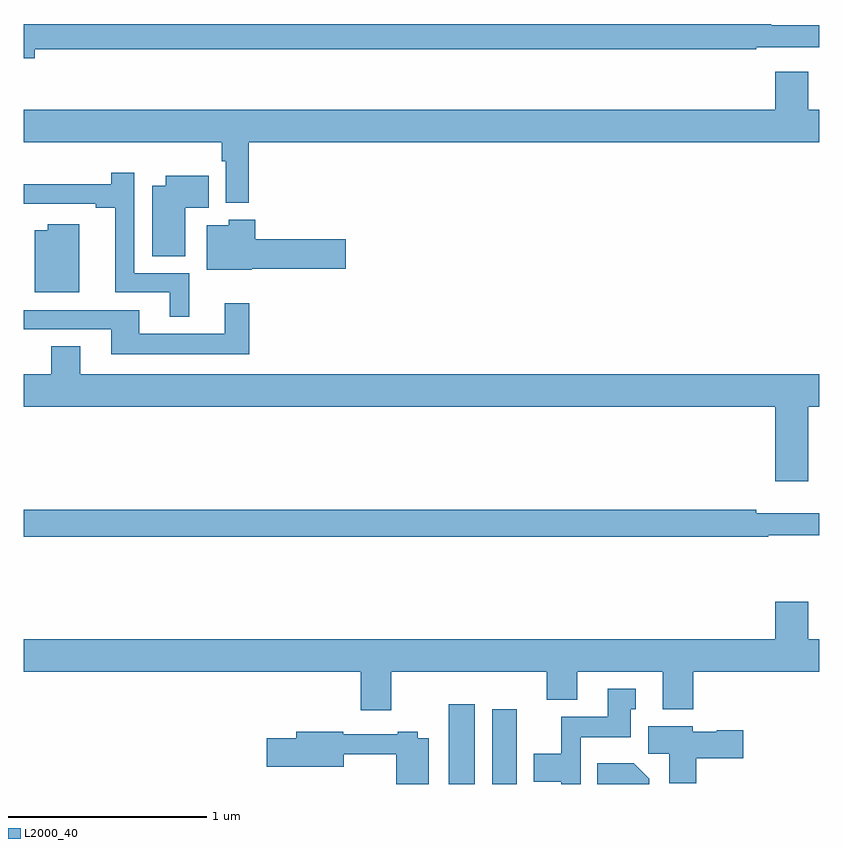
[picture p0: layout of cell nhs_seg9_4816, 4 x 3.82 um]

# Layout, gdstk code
import gdstk
lib = gdstk.Library(unit=1e-6, precision=1e-09)
def R(c, l, rs):  # rectangles x0, y0, x1, y1
    for r in rs: c.add(gdstk.rectangle(r[:2], r[2:], *l))
def P(c, l, *ps):  # polygons
    for p in ps: c.add(gdstk.Polygon(p, *l))
L2000_40 = (2000, 40)

nhs_seg9_4816 = lib.new_cell('nhs_seg9_4816')
R(nhs_seg9_4816, L2000_40, [(391.136,1218.5,391.267,1218.901), (391.355,1218.5,391.48,1218.877)])
P(nhs_seg9_4816, L2000_40, [(389.056,1222.194),(392.684,1222.194),(392.684,1222.206),(393,1222.206),(393,1222.315),(392.758,1222.315),(392.758,1222.322),(389,1222.322),(389,1222.151),(389.056,1222.151)],
  [(390.131,1221.728),(393,1221.728),(393,1221.892),(392.944,1221.892),(392.944,1222.081),(392.78,1222.081),(392.78,1221.892),(389,1221.892),(389,1221.728),(389.995,1221.728),(389.995,1221.632),(390.015,1221.632),(390.015,1221.422),(390.131,1221.422)],
  [(389.833,1221.069),(389.556,1221.069),(389.556,1221.574),(389.44,1221.574),(389.44,1221.515),(389,1221.515),(389,1221.417),(389.363,1221.417),(389.363,1221.397),(389.459,1221.397),(389.459,1220.973),(389.735,1220.973),(389.735,1220.849),(389.833,1220.849)],
  [(389.812,1221.398),(389.93,1221.398),(389.93,1221.559),(389.714,1221.559),(389.714,1221.508),(389.645,1221.508),(389.645,1221.154),(389.812,1221.154)],
  [(390.147,1221.092),(390.619,1221.092),(390.619,1221.239),(390.164,1221.239),(390.164,1221.337),(390.03,1221.337),(390.03,1221.31),(389.921,1221.31),(389.921,1221.086),(390.147,1221.086)],
  [(389.278,1221.316),(389.12,1221.316),(389.12,1221.286),(389.054,1221.286),(389.054,1220.972),(389.278,1220.972)],
  [(390.133,1220.917),(390.011,1220.917),(390.011,1220.764),(389.581,1220.764),(389.581,1220.883),(389,1220.883),(389,1220.787),(389.441,1220.787),(389.441,1220.66),(390.133,1220.66)],
  [(392.944,1220.396),(393,1220.396),(393,1220.56),(389.284,1220.56),(389.284,1220.702),(389.137,1220.702),(389.137,1220.56),(389,1220.56),(389,1220.396),(392.78,1220.396),(392.78,1220.022),(392.944,1220.022)],
  [(392.745,1219.752),(393,1219.752),(393,1219.861),(392.684,1219.861),(392.684,1219.88),(389,1219.88),(389,1219.744),(392.745,1219.744)],
  [(390.847,1219.064),(391.631,1219.064),(391.631,1218.923),(391.783,1218.923),(391.783,1219.064),(392.213,1219.064),(392.213,1218.875),(392.366,1218.875),(392.366,1219.064),(393,1219.064),(393,1219.228),(392.944,1219.228),(392.944,1219.417),(392.78,1219.417),(392.78,1219.228),(389,1219.228),(389,1219.064),(390.695,1219.064),(390.695,1218.87),(390.847,1218.87)],
  [(391.8,1218.734),(392.053,1218.734),(392.053,1218.876),(392.077,1218.876),(392.077,1218.979),(391.937,1218.979),(391.937,1218.838),(391.702,1218.838),(391.702,1218.652),(391.565,1218.652),(391.565,1218.512),(391.704,1218.512),(391.704,1218.5),(391.8,1218.5)],
  [(392.381,1218.629),(392.617,1218.629),(392.617,1218.771),(392.484,1218.771),(392.484,1218.763),(392.364,1218.763),(392.364,1218.79),(392.141,1218.79),(392.141,1218.652),(392.246,1218.652),(392.246,1218.504),(392.381,1218.504)],
  [(391.036,1218.73),(390.981,1218.73),(390.981,1218.763),(390.881,1218.763),(390.881,1218.75),(390.606,1218.75),(390.606,1218.763),(390.371,1218.763),(390.371,1218.729),(390.222,1218.729),(390.222,1218.587),(390.61,1218.587),(390.61,1218.649),(390.874,1218.649),(390.874,1218.5),(391.036,1218.5)],
  [(392.146,1218.526),(392.068,1218.604),(391.885,1218.604),(391.885,1218.5),(392.146,1218.5)])

lib.write_gds('nhs_seg9_4816.gds')
